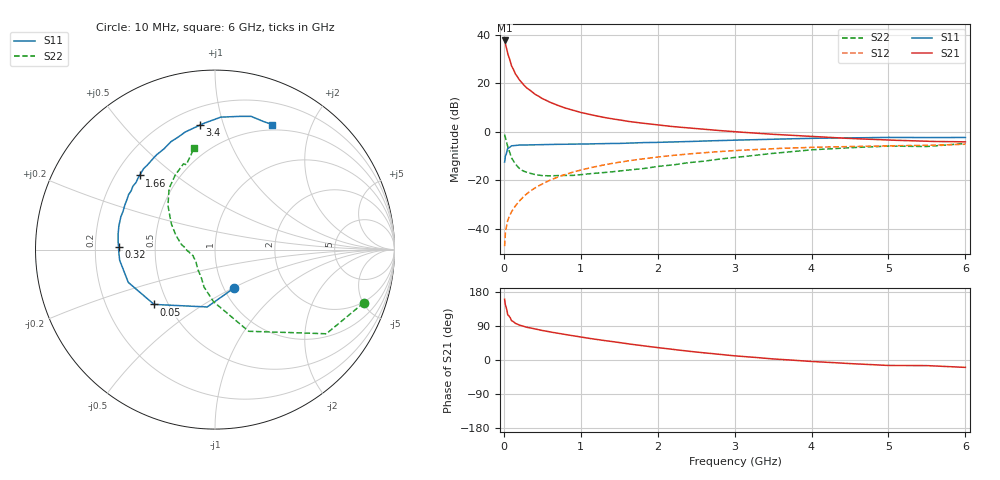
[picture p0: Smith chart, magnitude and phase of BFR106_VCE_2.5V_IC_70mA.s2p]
! Infineon Technologies  Discrete & RF Semiconductors
! BFR106
! VCE =  2.5 V,  IC =  70 mA
! Common Emitter S-Parameters:  Nov 2015
# GHz  S  MA  R  50
!  f  S11  S21  S12  S22
! GHz  MAG  ANG  MAG  ANG  MAG  ANG  MAG  ANG
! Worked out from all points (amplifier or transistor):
!   210 points, 10 MHz to 6 GHz, reference 50 ohm
!   highest |S21| = 37.7 dB at 10 MHz (marker M1)
!   |S21| within 3 dB of that: start of sweep to 32.95 MHz
!   unconditionally stable (mu >= 1): 196.7 MHz to 2.581 GHz; 5.263 GHz to end of sweep
!   at 185 MHz: K = 0.98, MSG = 25.7 dB, |S12| = -29.2 dB
!   at 1.52 GHz: K = 1.06, MAG = 7.2 dB, |S12| = -12.4 dB
!   at 6 GHz: K = 1.00, MAG = 0.1 dB, |S12| = -5.1 dB
!   S11 on the Smith chart (normalised r, x): 10 MHz: 1.11, -0.51; 50 MHz: 0.42, -0.32; 320 MHz: 0.30, +0.01; 1.66 GHz: 0.30, +0.38; 3.4 GHz: 0.31, +0.84; 6 GHz: 0.43, +1.47
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0.01  0.2391 -63.8  76.65 160.3  0.0044 78.7  0.8799 -19.7
0.02  0.3225 -97.7  66.62 145.1  0.0081 69.1  0.7775 -37.1
0.05  0.4565 -138.0  40.78 119.6  0.0148 60.5  0.4922 -67.6
0.1  0.5165 -159.3  23.03 103.9  0.0225 63.5  0.2909 -91.5
0.15  0.5256 -168.9  15.69 96.6  0.0296 67.0  0.2179 -106.2
0.2  0.5344 -173.7  11.94 92.3  0.0371 70.3  0.1773 -115.0
0.26  0.5359 -177.9  9.239 88.4  0.0466 71.2  0.154 -125.7
0.3  0.5371 179.5  7.998 86.3  0.0532 72.2  0.1464 -130.5
0.32  0.5378 178.6  7.606 85.6  0.0564 72.3  0.1433 -132.4
0.4  0.5421 174.8  6.054 82.0  0.0691 72.7  0.1325 -140.8
0.5  0.5466 170.8  4.86 77.9  0.0843 72.3  0.1254 -147.9
0.6  0.5514 166.8  4.078 74.1  0.1008 71.6  0.1241 -152.3
0.8  0.5557 160.6  3.096 67.2  0.1326 69.0  0.1269 -161.2
1.02  0.5608 153.1  2.474 60.1  0.1663 66.0  0.132 -166.8
1.3  0.5706 144.8  1.987 51.5  0.208 61.5  0.1441 -174.1
1.66  0.5893 135.5  1.61 41.5  0.2583 55.6  0.1658 177.5
2.02  0.6084 126.3  1.375 32.3  0.3051 49.4  0.1949 169.6
3.1  0.6805 102.3  0.982 9.5  0.4187 31.7  0.3074 144.4
3.4  0.6984 96.9  0.912 4.6  0.4433 27.1  0.3465 138.4
4.1  0.7404 86.1  0.789 -4.9  0.4844 16.8  0.4345 124.9
5.1  0.7674 73.7  0.67 -14.5  0.5179 4.8  0.507 109.9
6  0.7664 65.4  0.623 -19.5  0.5558 -4.3  0.5769 101.6
